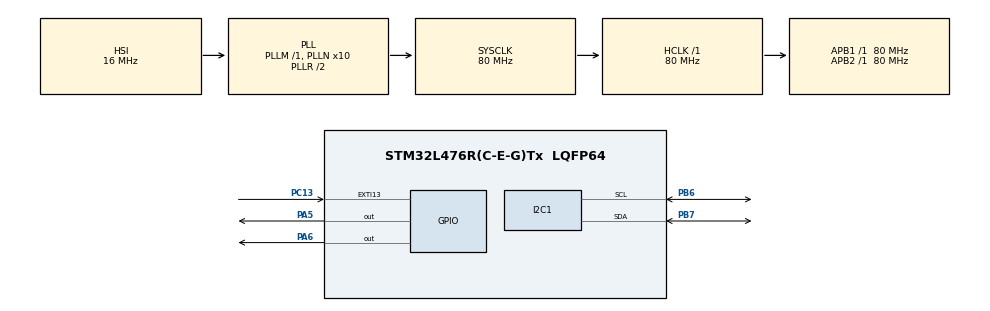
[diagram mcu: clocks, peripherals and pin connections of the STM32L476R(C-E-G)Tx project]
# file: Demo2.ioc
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Mcu.Family=STM32L4
Mcu.Name=STM32L476R(C-E-G)Tx
Mcu.Package=LQFP64
NVIC.PriorityGroup=NVIC_PRIORITYGROUP_4
PA13\ (JTMS-SWDIO).GPIO_Label=TMS
PA13\ (JTMS-SWDIO).Signal=SYS_JTMS-SWDIO
PA14\ (JTCK-SWCLK).GPIO_Label=TCK
PA14\ (JTCK-SWCLK).Signal=SYS_JTCK-SWCLK
PA2.GPIO_Label=USART_TX
PA2.GPIO_Mode=GPIO_MODE_AF_PP
PA2.GPIO_PuPd=GPIO_NOPULL
PA2.GPIO_Speed=GPIO_SPEED_FREQ_VERY_HIGH
PA2.Signal=USART2_TX
PA3.GPIO_Label=USART_RX
PA3.GPIO_Mode=GPIO_MODE_AF_PP
PA3.GPIO_PuPd=GPIO_NOPULL
PA3.GPIO_Speed=GPIO_SPEED_FREQ_VERY_HIGH
PA3.Signal=USART2_RX
PA5.Signal=GPIO_Output
PA6.Signal=GPIO_Output
PB3\ (JTDO-TRACESWO).GPIO_Label=SWO
PB3\ (JTDO-TRACESWO).Signal=SYS_JTDO-SWO
PB6.Mode=I2C
PB6.Signal=I2C1_SCL
PB7.Mode=I2C
PB7.Signal=I2C1_SDA
PC13.GPIO_ModeDefaultEXTI=GPIO_MODE_IT_FALLING
PC13.GPIO_PuPd=GPIO_NOPULL
PC13.Signal=GPXTI13
PC14-OSC32_IN\ (PC14).Signal=RCC_OSC32_IN
PC15-OSC32_OUT\ (PC15).Signal=RCC_OSC32_OUT
PH0-OSC_IN\ (PH0).Signal=RCC_OSC_IN
PH1-OSC_OUT\ (PH1).Signal=RCC_OSC_OUT
ProjectManager.HeapSize=0x200
ProjectManager.StackSize=0x400
ProjectManager.TargetToolchain=MDK-ARM V5
RCC.ADCFreq_Value=96000000
RCC.AHBFreq_Value=80000000
RCC.APB1Freq_Value=80000000
RCC.APB1TimFreq_Value=80000000
RCC.APB2Freq_Value=80000000
RCC.APB2TimFreq_Value=80000000
RCC.CortexFreq_Value=80000000
RCC.HCLKFreq_Value=80000000
RCC.HSE_VALUE=8000000
RCC.HSI_VALUE=16000000
RCC.LSE_VALUE=32768
RCC.MSI_VALUE=4000000
RCC.PLLN=10
RCC.PLLSAI1N=12
RCC.PLLSAI1Q=RCC_PLLQ_DIV4
RCC.PLLSourceVirtual=RCC_PLLSOURCE_HSI
RCC.PREFETCH_ENABLE=1
RCC.SYSCLKFreq_VALUE=80000000
RCC.SYSCLKSource=RCC_SYSCLKSOURCE_PLLCLK
RCC.USBFreq_Value=48000000
RCC.VCOOutputFreq_Value=160000000
VP_RNG_VS_RNG.Mode=RNG_Activate
board=NUCLEO-L476RG

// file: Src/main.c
/**
  ******************************************************************************
  * File Name          : main.c
  * Description        : Main program body
  ******************************************************************************
  ** This notice applies to any and all portions of this file
  * that are not between comment pairs USER CODE BEGIN and
  * USER CODE END. Other portions of this file, whether
  * inserted by the user or by software development tools
  * are owned by their respective copyright owners.
  *
  * COPYRIGHT(c) 2018 STMicroelectronics
  *
  * Redistribution and use in source and binary forms, with or without modification,
  * are permitted provided that the following conditions are met:
  *   1. Redistributions of source code must retain the above copyright notice,
  *      this list of conditions and the following disclaimer.
  *   2. Redistributions in binary form must reproduce the above copyright notice,
  *      this list of conditions and the following disclaimer in the documentation
  *      and/or other materials provided with the distribution.
  *   3. Neither the name of STMicroelectronics nor the names of its contributors
  *      may be used to endorse or promote products derived from this software
  *      without specific prior written permission.
  *
  * THIS SOFTWARE IS PROVIDED BY THE COPYRIGHT HOLDERS AND CONTRIBUTORS "AS IS"
  * AND ANY EXPRESS OR IMPLIED WARRANTIES, INCLUDING, BUT NOT LIMITED TO, THE
  * IMPLIED WARRANTIES OF MERCHANTABILITY AND FITNESS FOR A PARTICULAR PURPOSE ARE
  * DISCLAIMED. IN NO EVENT SHALL THE COPYRIGHT HOLDER OR CONTRIBUTORS BE LIABLE
  * FOR ANY DIRECT, INDIRECT, INCIDENTAL, SPECIAL, EXEMPLARY, OR CONSEQUENTIAL
  * DAMAGES (INCLUDING, BUT NOT LIMITED TO, PROCUREMENT OF SUBSTITUTE GOODS OR
  * SERVICES; LOSS OF USE, DATA, OR PROFITS; OR BUSINESS INTERRUPTION) HOWEVER
  * CAUSED AND ON ANY THEORY OF LIABILITY, WHETHER IN CONTRACT, STRICT LIABILITY,
  * OR TORT (INCLUDING NEGLIGENCE OR OTHERWISE) ARISING IN ANY WAY OUT OF THE USE
  * OF THIS SOFTWARE, EVEN IF ADVISED OF THE POSSIBILITY OF SUCH DAMAGE.
  *
  ******************************************************************************
  */

#include "main.h"
#include "stm32l4xx_hal.h"

I2C_HandleTypeDef hi2c1;

RNG_HandleTypeDef hrng;

/* USER CODE BEGIN PV */
/* Private variables ---------------------------------------------------------*/
#define BMP180_ADDR 0x77 // 7-bit address

#define	BMP180_REG_CONTROL 0xF4
#define	BMP180_REG_RESULT 0xF6

#define	BMP180_COMMAND_TEMPERATURE 0x2E
#define	BMP180_COMMAND_PRESSURE0 0x34
#define	BMP180_COMMAND_PRESSURE1 0x74
#define	BMP180_COMMAND_PRESSURE2 0xB4
#define	BMP180_COMMAND_PRESSURE3 0xF4
/* USER CODE END PV */

void SystemClock_Config(void);
static void MX_GPIO_Init(void);
static void MX_RNG_Init(void);
static void MX_I2C1_Init(void);

/* USER CODE BEGIN PFP */
/* Private function prototypes -----------------------------------------------*/

/* USER CODE END PFP */

/* USER CODE BEGIN 0 */

uint32_t random(int min,int max){
    while((RNG->SR & RNG_SR_DRDY) == 0);
    return RNG->DR % max + min;
}

/* USER CODE END 0 */

int main(void)
{

  /* MCU Configuration----------------------------------------------------------*/

  /* Reset of all peripherals, Initializes the Flash interface and the Systick. */
  HAL_Init();

  /* Configure the system clock */
  SystemClock_Config();

  /* Initialize all configured peripherals */
  MX_GPIO_Init();
  MX_RNG_Init();
  MX_I2C1_Init();

  /* USER CODE BEGIN 2 */

 	printf("\r\n");
 	printf("Scanning I2C bus:\r\n[");

	HAL_StatusTypeDef result;
 	uint8_t i;
 	for (i =1; i<128; i++)
 	{
 	  result = HAL_I2C_IsDeviceReady(&hi2c1, (uint16_t)(i<<1), 2, 2);
 	  if (result != HAL_OK) // HAL_ERROR or HAL_BUSY or HAL_TIMEOUT
 	  {
 		  printf("."); // No ACK received at that address
 	  }
 	  if (result == HAL_OK)
 	  {
 		  printf("0x%X", i); // Received an ACK at that address
 	  }
 	}
  printf("]\r\n");

	/*
	int16_t c3,c4,b1,c5,c6,mc,md,x0,x1,x2,y0,y1,y2,p0,p1,p2,AC1,AC2,AC3,AC4,AC5,AC6,VB1,VB2,MB,MC,MD;

	AC1 = 8056;
	AC2 = -1189;
	AC3 = -14606;
	AC4 = 34471;
	AC5 = 25115;
	AC6 = 18358;
	VB1 = 6515;
	VB2 = 47;
	MB = -32768;
	MC = -11786;
	MD = 2750;

	c3 = 160.0 * pow(2,-15) * AC3;
	c4 = pow(10,-3) * pow(2,-15) * AC4;
	b1 = pow(160,2) * pow(2,-30) * VB1;
	c5 = (pow(2,-15) / 160) * AC5;
	c6 = AC6;
	mc = (pow(2,11) / pow(160,2)) * MC;
	md = MD / 160.0;
	x0 = AC1;
	x1 = 160.0 * pow(2,-13) * AC2;
	x2 = pow(160,2) * pow(2,-25) * VB2;
	y0 = c4 * pow(2,15);
	y1 = c4 * c3;
	y2 = c4 * b1;
	p0 = (3791.0 - 8.0) / 1600.0;
	p1 = 1.0 - 7357.0 * pow(2,-20);
  p2 = 3038.0 * 100.0 * pow(2,-36);

	unsigned char data[2];
	data[0] = BMP180_REG_CONTROL;
  data[1] = BMP180_COMMAND_TEMPERATURE;

	HAL_I2C_Master_Transmit(&hi2c1,(uint16_t)BMP180_ADDR<<1,data,2,100);
	HAL_Delay(20);

	unsigned char res[2];
	res[0] = BMP180_REG_RESULT;
	HAL_I2C_Master_Transmit(&hi2c1,(uint16_t)BMP180_ADDR<<1,res,2,100);

	HAL_Delay(20);

	HAL_I2C_Master_Receive(&hi2c1,(uint16_t)BMP180_ADDR<<1,res,2,100);

	double tu, a;
	tu = ((uint16_t)data[0] * 256.0) + (uint16_t)data[1];
	a = c5 * (tu - c6);
  double T = a + (mc / (a + md));

	printf("%f",T);
	*/
	printf("\r\n");
  /* USER CODE END 2 */

  /* Infinite loop */
  /* USER CODE BEGIN WHILE */

	//int count = 0;

  while (1)
  {
  /* USER CODE END WHILE */

  /* USER CODE BEGIN 3 */

		int stateOfPushButton = HAL_GPIO_ReadPin(GPIOC, GPIO_PIN_13);
    if ( stateOfPushButton == 1 ) {
			HAL_GPIO_WritePin(GPIOA, GPIO_PIN_6, GPIO_PIN_RESET);
      HAL_GPIO_WritePin(GPIOA, GPIO_PIN_5, GPIO_PIN_RESET);
    } else {
			HAL_GPIO_WritePin(GPIOA, GPIO_PIN_6, GPIO_PIN_SET);
      HAL_GPIO_WritePin(GPIOA, GPIO_PIN_5, GPIO_PIN_SET);
    }

		printf("Random: %d\n\r",random(0,100));
		HAL_Delay(200);
  }
  /* USER CODE END 3 */

}

/** System Clock Configuration
*/
void SystemClock_Config(void)
{

  RCC_OscInitTypeDef RCC_OscInitStruct;
  RCC_ClkInitTypeDef RCC_ClkInitStruct;
  RCC_PeriphCLKInitTypeDef PeriphClkInit;

    /**Initializes the CPU, AHB and APB busses clocks
    */
  RCC_OscInitStruct.OscillatorType = RCC_OSCILLATORTYPE_HSI;
  RCC_OscInitStruct.HSIState = RCC_HSI_ON;
  RCC_OscInitStruct.HSICalibrationValue = 16;
  RCC_OscInitStruct.PLL.PLLState = RCC_PLL_ON;
  RCC_OscInitStruct.PLL.PLLSource = RCC_PLLSOURCE_HSI;
  RCC_OscInitStruct.PLL.PLLM = 1;
  RCC_OscInitStruct.PLL.PLLN = 10;
  RCC_OscInitStruct.PLL.PLLP = RCC_PLLP_DIV7;
  RCC_OscInitStruct.PLL.PLLQ = RCC_PLLQ_DIV2;
  RCC_OscInitStruct.PLL.PLLR = RCC_PLLR_DIV2;
  if (HAL_RCC_OscConfig(&RCC_OscInitStruct) != HAL_OK)
  {
    _Error_Handler(__FILE__, __LINE__);
  }

    /**Initializes the CPU, AHB and APB busses clocks
    */
  RCC_ClkInitStruct.ClockType = RCC_CLOCKTYPE_HCLK|RCC_CLOCKTYPE_SYSCLK
                              |RCC_CLOCKTYPE_PCLK1|RCC_CLOCKTYPE_PCLK2;
  RCC_ClkInitStruct.SYSCLKSource = RCC_SYSCLKSOURCE_PLLCLK;
  RCC_ClkInitStruct.AHBCLKDivider = RCC_SYSCLK_DIV1;
  RCC_ClkInitStruct.APB1CLKDivider = RCC_HCLK_DIV1;
  RCC_ClkInitStruct.APB2CLKDivider = RCC_HCLK_DIV1;

  if (HAL_RCC_ClockConfig(&RCC_ClkInitStruct, FLASH_LATENCY_3) != HAL_OK)
  {
    _Error_Handler(__FILE__, __LINE__);
  }

  PeriphClkInit.PeriphClockSelection = RCC_PERIPHCLK_I2C1|RCC_PERIPHCLK_RNG;
  PeriphClkInit.I2c1ClockSelection = RCC_I2C1CLKSOURCE_PCLK1;
  PeriphClkInit.RngClockSelection = RCC_RNGCLKSOURCE_PLLSAI1;
  PeriphClkInit.PLLSAI1.PLLSAI1Source = RCC_PLLSOURCE_HSI;
  PeriphClkInit.PLLSAI1.PLLSAI1M = 1;
  PeriphClkInit.PLLSAI1.PLLSAI1N = 12;
  PeriphClkInit.PLLSAI1.PLLSAI1P = RCC_PLLP_DIV7;
  PeriphClkInit.PLLSAI1.PLLSAI1Q = RCC_PLLQ_DIV4;
  PeriphClkInit.PLLSAI1.PLLSAI1R = RCC_PLLR_DIV2;
  PeriphClkInit.PLLSAI1.PLLSAI1ClockOut = RCC_PLLSAI1_48M2CLK;
  if (HAL_RCCEx_PeriphCLKConfig(&PeriphClkInit) != HAL_OK)
  {
    _Error_Handler(__FILE__, __LINE__);
  }

    /**Configure the main internal regulator output voltage
    */
  if (HAL_PWREx_ControlVoltageScaling(PWR_REGULATOR_VOLTAGE_SCALE1) != HAL_OK)
  {
    _Error_Handler(__FILE__, __LINE__);
  }

    /**Configure the Systick interrupt time
    */
  HAL_SYSTICK_Config(HAL_RCC_GetHCLKFreq()/1000);

    /**Configure the Systick
    */
  HAL_SYSTICK_CLKSourceConfig(SYSTICK_CLKSOURCE_HCLK);

  /* SysTick_IRQn interrupt configuration */
  HAL_NVIC_SetPriority(SysTick_IRQn, 0, 0);
}

/* I2C1 init function */
static void MX_I2C1_Init(void)
{

  hi2c1.Instance = I2C1;
  hi2c1.Init.Timing = 0x10909CEC;
  hi2c1.Init.OwnAddress1 = 0;
  hi2c1.Init.AddressingMode = I2C_ADDRESSINGMODE_7BIT;
  hi2c1.Init.DualAddressMode = I2C_DUALADDRESS_DISABLE;
  hi2c1.Init.OwnAddress2 = 0;
  hi2c1.Init.OwnAddress2Masks = I2C_OA2_NOMASK;
  hi2c1.Init.GeneralCallMode = I2C_GENERALCALL_DISABLE;
  hi2c1.Init.NoStretchMode = I2C_NOSTRETCH_DISABLE;
  if (HAL_I2C_Init(&hi2c1) != HAL_OK)
  {
    _Error_Handler(__FILE__, __LINE__);
  }

    /**Configure Analogue filter
    */
  if (HAL_I2CEx_ConfigAnalogFilter(&hi2c1, I2C_ANALOGFILTER_ENABLE) != HAL_OK)
  {
    _Error_Handler(__FILE__, __LINE__);
  }

    /**Configure Digital filter
    */
  if (HAL_I2CEx_ConfigDigitalFilter(&hi2c1, 0) != HAL_OK)
  {
    _Error_Handler(__FILE__, __LINE__);
  }

}

/* RNG init function */
static void MX_RNG_Init(void)
{

  hrng.Instance = RNG;
  if (HAL_RNG_Init(&hrng) != HAL_OK)
  {
    _Error_Handler(__FILE__, __LINE__);
  }

}

/** Configure pins as
        * Analog
        * Input
        * Output
        * EVENT_OUT
        * EXTI
     PA2   ------> USART2_TX
     PA3   ------> USART2_RX
*/
static void MX_GPIO_Init(void)
{

  GPIO_InitTypeDef GPIO_InitStruct;

  /* GPIO Ports Clock Enable */
  __HAL_RCC_GPIOC_CLK_ENABLE();
  __HAL_RCC_GPIOH_CLK_ENABLE();
  __HAL_RCC_GPIOA_CLK_ENABLE();
  __HAL_RCC_GPIOB_CLK_ENABLE();

  /*Configure GPIO pin Output Level */
  HAL_GPIO_WritePin(GPIOA, GPIO_PIN_5|GPIO_PIN_6, GPIO_PIN_RESET);

  /*Configure GPIO pin : PC13 */
  GPIO_InitStruct.Pin = GPIO_PIN_13;
  GPIO_InitStruct.Mode = GPIO_MODE_IT_FALLING;
  GPIO_InitStruct.Pull = GPIO_NOPULL;
  HAL_GPIO_Init(GPIOC, &GPIO_InitStruct);

  /*Configure GPIO pins : USART_TX_Pin USART_RX_Pin */
  GPIO_InitStruct.Pin = USART_TX_Pin|USART_RX_Pin;
  GPIO_InitStruct.Mode = GPIO_MODE_AF_PP;
  GPIO_InitStruct.Pull = GPIO_NOPULL;
  GPIO_InitStruct.Speed = GPIO_SPEED_FREQ_VERY_HIGH;
  GPIO_InitStruct.Alternate = GPIO_AF7_USART2;
  HAL_GPIO_Init(GPIOA, &GPIO_InitStruct);

  /*Configure GPIO pins : PA5 PA6 */
  GPIO_InitStruct.Pin = GPIO_PIN_5|GPIO_PIN_6;
  GPIO_InitStruct.Mode = GPIO_MODE_OUTPUT_PP;
  GPIO_InitStruct.Pull = GPIO_NOPULL;
  GPIO_InitStruct.Speed = GPIO_SPEED_FREQ_LOW;
  HAL_GPIO_Init(GPIOA, &GPIO_InitStruct);

}

void _Error_Handler(char * file, int line)
{
  while(1)
  {
  }
}

/************************ (C) COPYRIGHT STMicroelectronics *****END OF FILE****/
